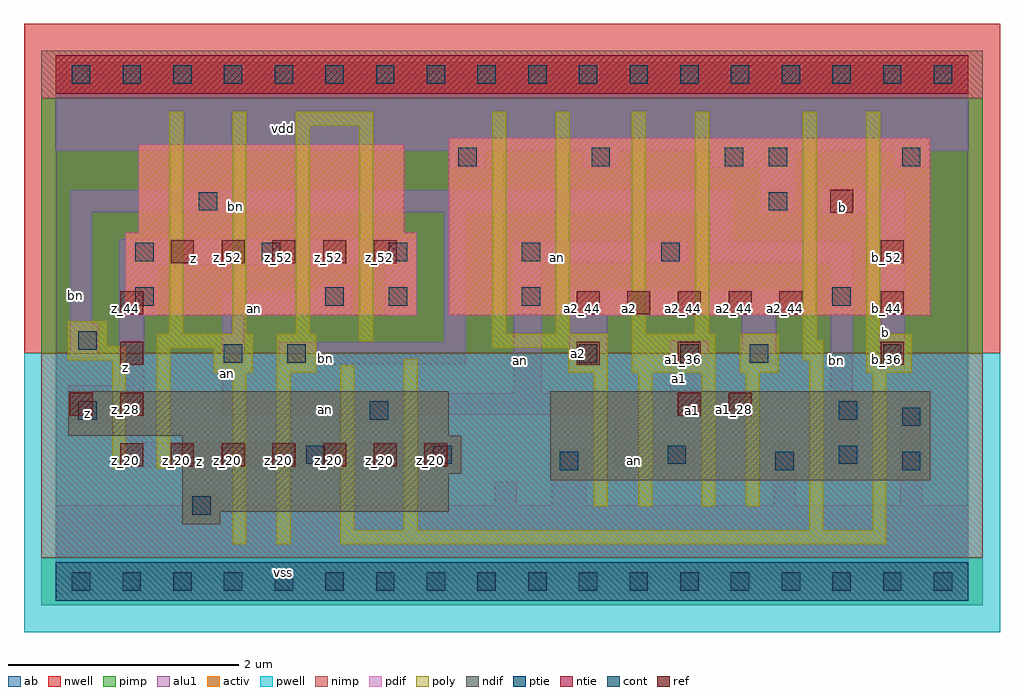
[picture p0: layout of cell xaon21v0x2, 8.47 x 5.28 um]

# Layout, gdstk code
import gdstk
lib = gdstk.Library(unit=1e-6, precision=2.5e-09)
def R(c, l, rs):  # rectangles x0, y0, x1, y1
    for r in rs: c.add(gdstk.rectangle(r[:2], r[2:], *l))
def A(c, l, x, y, w, h, nx, ny, dx, dy):  # array of equal rectangles
    R(c, l, [(x+i*dx, y+j*dy, x+i*dx+w, y+j*dy+h) for i in range(nx) for j in range(ny)])
ndif = (3, 0)
pdif = (4, 0)
ntie = (5, 0)
ptie = (6, 0)
ref = (24, 0)
cont = (25, 0)
pwell = (41, 0)
nwell = (42, 0)
activ = (43, 0)
pimp = (44, 0)
nimp = (45, 0)
poly = (46, 0)
alu1 = (49, 0)
ab = (63, 0)

xaon21v0x2 = lib.new_cell('xaon21v0x2')
R(xaon21v0x2, ndif, [(1.1,0.495,1.43,0.605), (1.1,0.605,3.41,0.935), (4.29,0.88,7.59,1.65), (1.1,0.935,3.52,1.265), (0.11,1.265,3.41,1.65)])
R(xaon21v0x2, pdif, [(0.605,2.31,3.135,3.025), (3.41,2.31,7.59,3.85), (0.715,3.025,3.025,3.795)])
R(xaon21v0x2, ntie, [(0,4.235,7.92,4.565)])
R(xaon21v0x2, ptie, [(0,-0.165,7.92,0.165)])
A(xaon21v0x2, ref, 0.56, 1, 0.2, 0.2, 7, 1, 0.44, 0)
A(xaon21v0x2, ref, 0.56, 1.44, 0.2, 0.2, 1, 3, 0, 0.44)
A(xaon21v0x2, ref, 7.16, 1.88, 0.2, 0.2, 1, 3, 0, 0.44)
A(xaon21v0x2, ref, 4.52, 2.32, 0.2, 0.2, 5, 1, 0.44, 0)
A(xaon21v0x2, ref, 1, 2.76, 0.2, 0.2, 5, 1, 0.44, 0)
R(xaon21v0x2, ref, [(0.12,1.44,0.32,1.64), (5.4,1.44,5.6,1.64), (5.84,1.44,6.04,1.64), (4.52,1.88,4.72,2.08), (5.4,1.88,5.6,2.08), (6.72,3.2,6.92,3.4)])
A(xaon21v0x2, cont, 0.14, -0.08, 0.16, 0.16, 18, 2, 0.44, 4.4)
A(xaon21v0x2, cont, 0.69, 2.78, 0.16, 0.16, 3, 1, 1.1, 0)
A(xaon21v0x2, cont, 3.495, 3.605, 0.16, 0.16, 3, 1, 1.155, 0)
R(xaon21v0x2, cont, [(1.185,0.58,1.345,0.74), (4.375,0.965,4.535,1.125), (6.245,0.965,6.405,1.125), (7.345,0.965,7.505,1.125), (2.175,1.02,2.335,1.18), (3.275,1.02,3.435,1.18), (5.31,1.02,5.47,1.18), (6.795,1.02,6.955,1.18), (7.345,1.35,7.505,1.51), (0.195,1.405,0.355,1.565), (2.725,1.405,2.885,1.565), (6.795,1.405,6.955,1.565), (1.46,1.9,1.62,2.06), (2.01,1.9,2.17,2.06), (4.54,1.9,4.7,2.06), (5.42,1.9,5.58,2.06), (6.025,1.9,6.185,2.06), (7.18,1.9,7.34,2.06), (0.195,2.01,0.355,2.17), (0.69,2.395,0.85,2.555), (2.34,2.395,2.5,2.555), (2.89,2.395,3.05,2.555), (4.045,2.395,4.205,2.555), (6.74,2.395,6.9,2.555), (4.045,2.78,4.205,2.94), (5.255,2.78,5.415,2.94), (1.24,3.22,1.4,3.38), (6.19,3.22,6.35,3.38), (6.19,3.605,6.35,3.765), (7.345,3.605,7.505,3.765)])
R(xaon21v0x2, pwell, [(-0.275,-0.44,8.195,1.98)])
R(xaon21v0x2, nwell, [(-0.275,1.98,8.195,4.84)])
R(xaon21v0x2, activ, [(0,-0.165,7.92,0.165), (1.1,0.495,1.43,0.605), (1.1,0.605,3.41,0.935), (4.29,0.88,7.59,1.65), (1.1,0.935,3.52,1.265), (0.11,1.265,3.41,1.65), (0.605,2.31,3.135,3.025), (3.41,2.31,7.59,3.85), (0.715,3.025,3.025,3.795), (0,4.235,7.92,4.565)])
R(xaon21v0x2, pimp, [(-0.125,-0.205,8.045,0.205), (-0.125,1.98,8.045,4.195)])
R(xaon21v0x2, nimp, [(-0.125,0.205,8.045,1.98), (-0.125,4.195,8.045,4.605)])
R(xaon21v0x2, poly, [(1.535,0.325,1.655,1.81), (1.92,0.325,2.04,1.81), (2.47,0.325,7.21,0.445), (2.47,0.445,2.59,1.875), (3.02,0.445,3.14,1.93), (6.54,0.445,6.66,1.92), (7.09,0.445,7.21,1.81), (4.67,0.655,4.79,1.81), (5.055,0.655,5.175,1.81), (5.605,0.655,5.725,1.81), (5.99,0.655,6.11,1.81), (0.49,0.985,0.61,1.92), (0.875,0.985,0.995,2.03), (1.37,1.81,1.71,2.03), (1.92,1.81,2.26,2.15), (4.45,1.81,4.79,2.03), (5,1.81,5.725,2.15), (5.935,1.81,6.275,2.15), (7.035,1.81,7.43,2.15), (0.105,1.92,0.61,2.04), (6.485,1.92,6.66,2.095), (0.875,2.03,1.71,2.15), (3.79,2.03,4.79,2.15), (0.105,2.04,0.445,2.26), (2.635,2.085,2.755,3.955), (6.485,2.095,6.605,4.075), (0.985,2.15,1.105,4.075), (1.535,2.15,1.655,4.075), (2.085,2.15,2.205,3.955), (3.79,2.15,3.91,4.075), (4.34,2.15,4.46,4.075), (5,2.15,5.12,4.075), (5.55,2.15,5.67,4.075), (7.035,2.15,7.155,4.075), (2.085,3.955,2.755,4.075)])
R(xaon21v0x2, alu1, [(0,-0.11,7.92,0.66), (1.115,0.66,1.415,0.755), (3.81,0.66,4,0.865), (4.305,0.66,4.605,1.14), (6.23,0.66,6.42,1.195), (7.33,0.66,7.52,1.58), (6.725,0.95,6.97,1.635), (0.495,0.99,3.52,1.21), (4.855,1.005,5.54,1.195), (4.855,1.195,5.045,1.445), (0.495,1.21,0.77,1.375), (0.11,1.375,0.77,1.705), (2.655,1.39,2.955,1.445), (5.335,1.43,6.105,1.65), (1.445,1.445,5.045,1.635), (1.445,1.635,1.635,2.325), (3.975,1.635,4.22,2.765), (6.725,1.635,6.915,2.765), (5.335,1.65,5.665,2.09), (0.55,1.705,0.77,2.31), (7.15,1.815,7.37,3.19), (4.455,1.87,4.785,2.31), (1.94,1.885,3.56,2.075), (5.955,1.885,6.255,2.31), (0.125,1.94,0.37,2.24), (3.37,2.075,3.56,3.205), (0.125,2.24,0.315,3.205), (0.55,2.31,0.88,2.75), (2.86,2.31,3.135,2.75), (4.455,2.31,6.545,2.53), (1.445,2.325,2.57,2.515), (2.27,2.515,2.57,2.57), (0.55,2.75,3.135,2.97), (3.975,2.765,5.485,2.955), (5.68,2.765,6.915,2.955), (5.68,2.955,5.87,3.205), (6.655,3.19,7.37,3.41), (0.125,3.205,5.87,3.395), (6.12,3.205,6.42,3.59), (3.425,3.59,3.725,3.74), (4.58,3.59,4.88,3.74), (5.68,3.59,6.42,3.74), (7.275,3.59,7.575,3.74), (0,3.74,7.92,4.51)])
R(xaon21v0x2, ab, [(0,0,7.92,4.4)])
xaon21v0x2.add(gdstk.Label('vss', (1.98,0.0825), layer=49, texttype=0))
xaon21v0x2.add(gdstk.Label('an', (5.025,1.0525), layer=49, texttype=0))
xaon21v0x2.add(gdstk.Label('b', (7.205,2.1575), layer=49, texttype=0))
xaon21v0x2.add(gdstk.Label('bn', (6.7725,1.9175), layer=49, texttype=0))
xaon21v0x2.add(gdstk.Label('a1', (5.5275,1.485), layer=49, texttype=0))
xaon21v0x2.add(gdstk.Label('z', (1.25,1.045), layer=49, texttype=0))
xaon21v0x2.add(gdstk.Label('an', (2.345,1.4925), layer=49, texttype=0))
xaon21v0x2.add(gdstk.Label('a1', (5.4175,1.76), layer=49, texttype=0))
xaon21v0x2.add(gdstk.Label('a2', (4.5375,1.98), layer=49, texttype=0))
xaon21v0x2.add(gdstk.Label('a2', (4.9775,2.365), layer=49, texttype=0))
xaon21v0x2.add(gdstk.Label('an', (4.035,1.9175), layer=49, texttype=0))
xaon21v0x2.add(gdstk.Label('an', (4.3525,2.8125), layer=49, texttype=0))
xaon21v0x2.add(gdstk.Label('bn', (2.345,1.9325), layer=49, texttype=0))
xaon21v0x2.add(gdstk.Label('b', (6.8325,3.245), layer=49, texttype=0))
xaon21v0x2.add(gdstk.Label('an', (1.4925,1.8075), layer=49, texttype=0))
xaon21v0x2.add(gdstk.Label('z', (0.275,1.4575), layer=49, texttype=0))
xaon21v0x2.add(gdstk.Label('z', (0.605,1.855), layer=49, texttype=0))
xaon21v0x2.add(gdstk.Label('an', (1.725,2.3725), layer=49, texttype=0))
xaon21v0x2.add(gdstk.Label('z', (1.195,2.805), layer=49, texttype=0))
xaon21v0x2.add(gdstk.Label('bn', (0.1725,2.48), layer=49, texttype=0))
xaon21v0x2.add(gdstk.Label('bn', (1.56,3.2525), layer=49, texttype=0))
xaon21v0x2.add(gdstk.Label('vdd', (1.98,3.9325), layer=49, texttype=0))
xaon21v0x2.add(gdstk.Label('z_20', (0.61,1.05), layer=24, texttype=0))
xaon21v0x2.add(gdstk.Label('a2_44', (5.01,2.37), layer=24, texttype=0))
xaon21v0x2.add(gdstk.Label('a2_44', (4.57,2.37), layer=24, texttype=0))
xaon21v0x2.add(gdstk.Label('a2_36', (4.57,1.93), layer=24, texttype=0))
xaon21v0x2.add(gdstk.Label('z_20', (3.25,1.05), layer=24, texttype=0))
xaon21v0x2.add(gdstk.Label('z_52', (2.81,2.81), layer=24, texttype=0))
xaon21v0x2.add(gdstk.Label('z_20', (2.81,1.05), layer=24, texttype=0))
xaon21v0x2.add(gdstk.Label('z_52', (2.37,2.81), layer=24, texttype=0))
xaon21v0x2.add(gdstk.Label('z_20', (2.37,1.05), layer=24, texttype=0))
xaon21v0x2.add(gdstk.Label('z_28', (0.17,1.49), layer=24, texttype=0))
xaon21v0x2.add(gdstk.Label('z_52', (1.93,2.81), layer=24, texttype=0))
xaon21v0x2.add(gdstk.Label('z_20', (1.93,1.05), layer=24, texttype=0))
xaon21v0x2.add(gdstk.Label('z_52', (1.49,2.81), layer=24, texttype=0))
xaon21v0x2.add(gdstk.Label('z_20', (1.49,1.05), layer=24, texttype=0))
xaon21v0x2.add(gdstk.Label('z_52', (1.05,2.81), layer=24, texttype=0))
xaon21v0x2.add(gdstk.Label('z_20', (1.05,1.05), layer=24, texttype=0))
xaon21v0x2.add(gdstk.Label('b_52', (7.21,2.81), layer=24, texttype=0))
xaon21v0x2.add(gdstk.Label('b_44', (7.21,2.37), layer=24, texttype=0))
xaon21v0x2.add(gdstk.Label('b_36', (7.21,1.93), layer=24, texttype=0))
xaon21v0x2.add(gdstk.Label('b_60', (6.77,3.25), layer=24, texttype=0))
xaon21v0x2.add(gdstk.Label('z_44', (0.61,2.37), layer=24, texttype=0))
xaon21v0x2.add(gdstk.Label('z_36', (0.61,1.93), layer=24, texttype=0))
xaon21v0x2.add(gdstk.Label('z_28', (0.61,1.49), layer=24, texttype=0))
xaon21v0x2.add(gdstk.Label('a2_44', (6.33,2.37), layer=24, texttype=0))
xaon21v0x2.add(gdstk.Label('a2_44', (5.89,2.37), layer=24, texttype=0))
xaon21v0x2.add(gdstk.Label('a1_28', (5.89,1.49), layer=24, texttype=0))
xaon21v0x2.add(gdstk.Label('a2_44', (5.45,2.37), layer=24, texttype=0))
xaon21v0x2.add(gdstk.Label('a1_36', (5.45,1.93), layer=24, texttype=0))
xaon21v0x2.add(gdstk.Label('a1_28', (5.45,1.49), layer=24, texttype=0))

lib.write_gds('xaon21v0x2.gds')
